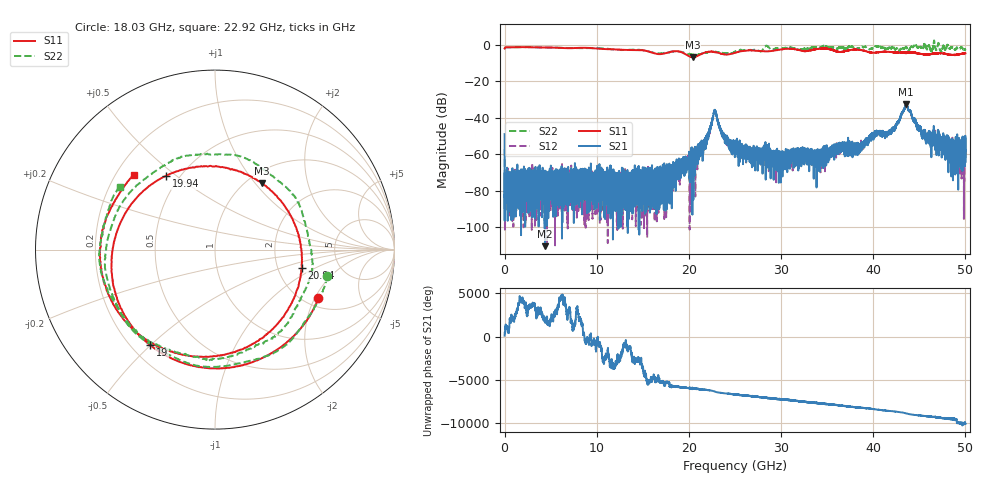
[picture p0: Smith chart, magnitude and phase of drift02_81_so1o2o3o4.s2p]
!Created with skrf (http://scikit-rf.org).
# Hz S RI R 50.0
!freq ReS11 ImS11 ReS21 ImS21 ReS12 ImS12 ReS22 ImS22
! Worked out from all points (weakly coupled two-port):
!   10001 points, 300 kHz to 50 GHz, reference 50 ohm
!   highest |S21| = -32.82 dB at 43.58 GHz (marker M1); lowest = -110.5 dB at 4.38 GHz (marker M2)
!   lowest |S11| = -6.9 dB at 20.44 GHz (marker M3), VSWR 2.65, Z = 58.4 + j54.1 ohm
!   |S11| at or under -10 dB: nowhere
!   |S22| runs from -5.7 to 2.3 dB; largest |S21 - S12| = 0.0038
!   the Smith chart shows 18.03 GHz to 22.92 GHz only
!   S11 on the Smith chart (normalised r, x): 18.03 GHz: 2.35, -2.13; 19 GHz: 0.27, -0.50; 19.94 GHz: 0.42, +0.46; 20.94 GHz: 2.71, -0.75; 22.92 GHz: 0.27, +0.37
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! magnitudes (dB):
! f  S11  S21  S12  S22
! 300 kHz  -2.1  -49.1  -57.3  -2.1
! 255.3 MHz  -1.4  -76.3  -84.5  -1.4
! 4.38 GHz  -1.6  -110.5  -75.6  -1.6
! 8.335 GHz  -1.7  -77.9  -83.8  -1.9
! 16.67 GHz  -5.2  -72.0  -77.1  -4.7
! 18.03 GHz  -3.9  -83.0  -70.6  -3.9
! 19 GHz  -3.8  -64.1  -65.7  -3.9
! 19.94 GHz  -6.1  -64.1  -65.1  -5.2
! 20.44 GHz  -6.9  -70.7  -58.4  -5.4
! 20.94 GHz  -6.1  -56.4  -61.2  -5.6
! 22.92 GHz  -4.2  -37.1  -37.3  -3.9
! 23.8 GHz  -5.3  -50.5  -51.0  -4.6
! 25 GHz  -4.5  -59.1  -56.4  -3.9
! 29.96 GHz  -2.7  -64.6  -62.3  -2.0
! 33.34 GHz  -3.0  -57.5  -61.6  -1.6
! 38.27 GHz  -2.8  -60.6  -57.4  -2.2
! 40.41 GHz  -4.3  -48.6  -48.8  -1.0
! 41.67 GHz  -4.0  -48.6  -48.5  -1.9
! 43.58 GHz  -4.6  -32.8  -33.8  -1.5
! 45.69 GHz  -5.4  -50.3  -50.0  -0.6
! 48.65 GHz  -5.6  -60.1  -57.8  -1.6
! 50 GHz  -4.7  -57.7  -59.6  -2.7
